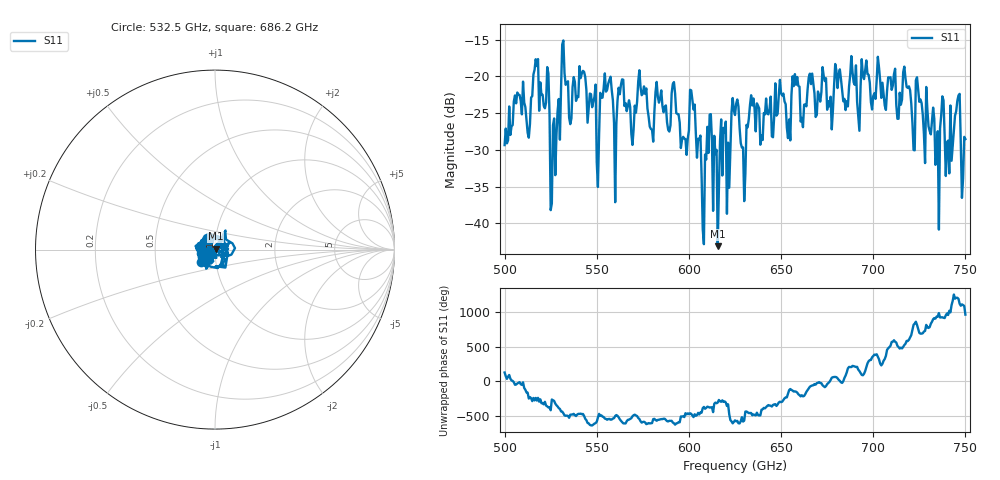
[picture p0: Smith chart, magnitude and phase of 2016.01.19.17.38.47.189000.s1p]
!Created with skrf (http://scikit-rf.org).
# GHz S RI R 50.0
!freq ReS11 ImS11
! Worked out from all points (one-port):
!   401 points, 500 GHz to 750 GHz, reference 50 ohm
!   lowest |S11| = -43.1 dB at 615.6 GHz (marker M1), VSWR 1.01, Z = 50.5 + j0.534 ohm
!   |S11| at or under -10 dB: start of sweep to end of sweep
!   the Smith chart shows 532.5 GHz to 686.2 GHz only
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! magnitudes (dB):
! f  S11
! 500 GHz  -29.4
! 506.9 GHz  -22.2
! 513.1 GHz  -28.3
! 516.9 GHz  -17.7
! 523.1 GHz  -18.7
! 526.2 GHz  -26.7
! 531.2 GHz  -15.7
! 541.9 GHz  -19.6
! 551.2 GHz  -28.0
! 553.1 GHz  -22.9
! 560 GHz  -37.1
! 562.5 GHz  -22.4
! 593.8 GHz  -25.1
! 598.1 GHz  -28.5
! 601.9 GHz  -23.2
! 608.1 GHz  -42.8
! 611.2 GHz  -25.2
! 615.6 GHz  -43.1
! 625 GHz  -25.3
! 629.4 GHz  -29.7
! 634.4 GHz  -24.0
! 656.2 GHz  -20.0
! 687.5 GHz  -19.8
! 718.8 GHz  -21.6
! 735 GHz  -27.5
! 737.5 GHz  -22.7
! 745.6 GHz  -23.3
! 750 GHz  -28.5
